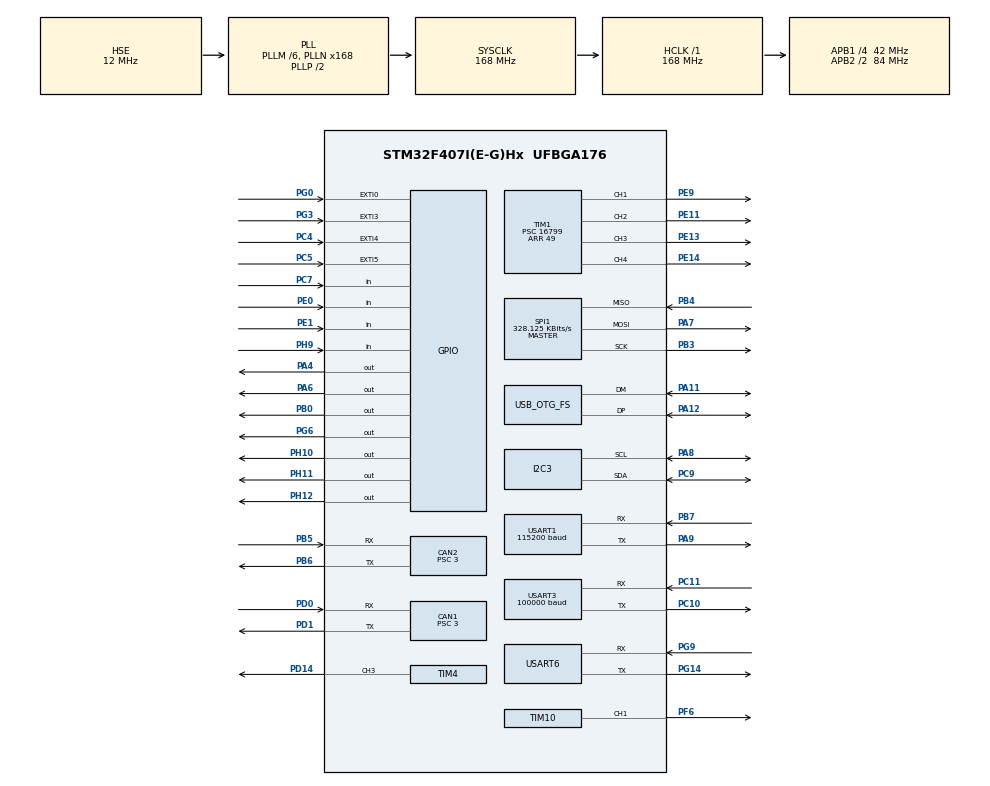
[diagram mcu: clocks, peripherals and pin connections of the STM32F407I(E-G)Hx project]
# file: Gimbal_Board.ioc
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CAN1.BS1=CAN_BS1_10TQ
CAN1.BS2=CAN_BS2_3TQ
CAN1.CalculateBaudRate=1000000
CAN1.CalculateTimeBit=1000
CAN1.CalculateTimeQuantum=71.42857142857143
CAN1.Prescaler=3
CAN1.SJW=CAN_SJW_1TQ
CAN2.BS1=CAN_BS1_10TQ
CAN2.BS2=CAN_BS2_3TQ
CAN2.CalculateBaudRate=1000000
CAN2.CalculateTimeBit=1000
CAN2.CalculateTimeQuantum=71.42857142857143
CAN2.Prescaler=3
Dma.Request0=SPI1_RX
Dma.Request1=SPI1_TX
Dma.Request2=USART3_RX
Dma.Request3=USART6_RX
Dma.Request4=USART6_TX
Dma.Request5=USART1_TX
Dma.Request6=USART1_RX
Dma.SPI1_RX.0.Direction=DMA_PERIPH_TO_MEMORY
Dma.SPI1_RX.0.FIFOMode=DMA_FIFOMODE_DISABLE
Dma.SPI1_RX.0.Instance=DMA2_Stream2
Dma.SPI1_RX.0.MemDataAlignment=DMA_MDATAALIGN_BYTE
Dma.SPI1_RX.0.MemInc=DMA_MINC_ENABLE
Dma.SPI1_RX.0.Mode=DMA_NORMAL
Dma.SPI1_RX.0.PeriphDataAlignment=DMA_PDATAALIGN_BYTE
Dma.SPI1_RX.0.PeriphInc=DMA_PINC_DISABLE
Dma.SPI1_RX.0.Priority=DMA_PRIORITY_VERY_HIGH
Dma.SPI1_TX.1.Direction=DMA_MEMORY_TO_PERIPH
Dma.SPI1_TX.1.FIFOMode=DMA_FIFOMODE_DISABLE
Dma.SPI1_TX.1.Instance=DMA2_Stream3
Dma.SPI1_TX.1.MemDataAlignment=DMA_MDATAALIGN_BYTE
Dma.SPI1_TX.1.MemInc=DMA_MINC_ENABLE
Dma.SPI1_TX.1.Mode=DMA_NORMAL
Dma.SPI1_TX.1.PeriphDataAlignment=DMA_PDATAALIGN_BYTE
Dma.SPI1_TX.1.PeriphInc=DMA_PINC_DISABLE
Dma.SPI1_TX.1.Priority=DMA_PRIORITY_HIGH
Dma.USART1_RX.6.Direction=DMA_PERIPH_TO_MEMORY
Dma.USART1_RX.6.FIFOMode=DMA_FIFOMODE_DISABLE
Dma.USART1_RX.6.Instance=DMA2_Stream5
Dma.USART1_RX.6.MemDataAlignment=DMA_MDATAALIGN_BYTE
Dma.USART1_RX.6.MemInc=DMA_MINC_ENABLE
Dma.USART1_RX.6.Mode=DMA_NORMAL
Dma.USART1_RX.6.PeriphDataAlignment=DMA_PDATAALIGN_BYTE
Dma.USART1_RX.6.PeriphInc=DMA_PINC_DISABLE
Dma.USART1_RX.6.Priority=DMA_PRIORITY_HIGH
Dma.USART1_TX.5.Direction=DMA_MEMORY_TO_PERIPH
Dma.USART1_TX.5.FIFOMode=DMA_FIFOMODE_DISABLE
Dma.USART1_TX.5.Instance=DMA2_Stream7
Dma.USART1_TX.5.MemDataAlignment=DMA_MDATAALIGN_BYTE
Dma.USART1_TX.5.MemInc=DMA_MINC_ENABLE
Dma.USART1_TX.5.Mode=DMA_NORMAL
Dma.USART1_TX.5.PeriphDataAlignment=DMA_PDATAALIGN_BYTE
Dma.USART1_TX.5.PeriphInc=DMA_PINC_DISABLE
Dma.USART1_TX.5.Priority=DMA_PRIORITY_VERY_HIGH
Dma.USART3_RX.2.Direction=DMA_PERIPH_TO_MEMORY
Dma.USART3_RX.2.FIFOMode=DMA_FIFOMODE_DISABLE
Dma.USART3_RX.2.Instance=DMA1_Stream1
Dma.USART3_RX.2.MemDataAlignment=DMA_MDATAALIGN_BYTE
Dma.USART3_RX.2.MemInc=DMA_MINC_ENABLE
Dma.USART3_RX.2.Mode=DMA_NORMAL
Dma.USART3_RX.2.PeriphDataAlignment=DMA_PDATAALIGN_BYTE
Dma.USART3_RX.2.PeriphInc=DMA_PINC_DISABLE
Dma.USART3_RX.2.Priority=DMA_PRIORITY_LOW
Dma.USART6_RX.3.Direction=DMA_PERIPH_TO_MEMORY
Dma.USART6_RX.3.FIFOMode=DMA_FIFOMODE_DISABLE
Dma.USART6_RX.3.Instance=DMA2_Stream1
Dma.USART6_RX.3.MemDataAlignment=DMA_MDATAALIGN_BYTE
Dma.USART6_RX.3.MemInc=DMA_MINC_ENABLE
Dma.USART6_RX.3.Mode=DMA_NORMAL
Dma.USART6_RX.3.PeriphDataAlignment=DMA_PDATAALIGN_BYTE
Dma.USART6_RX.3.PeriphInc=DMA_PINC_DISABLE
Dma.USART6_RX.3.Priority=DMA_PRIORITY_HIGH
Dma.USART6_TX.4.Direction=DMA_MEMORY_TO_PERIPH
Dma.USART6_TX.4.FIFOMode=DMA_FIFOMODE_DISABLE
Dma.USART6_TX.4.Instance=DMA2_Stream6
Dma.USART6_TX.4.MemDataAlignment=DMA_MDATAALIGN_BYTE
Dma.USART6_TX.4.MemInc=DMA_MINC_ENABLE
Dma.USART6_TX.4.Mode=DMA_NORMAL
Dma.USART6_TX.4.PeriphDataAlignment=DMA_PDATAALIGN_BYTE
Dma.USART6_TX.4.PeriphInc=DMA_PINC_DISABLE
Dma.USART6_TX.4.Priority=DMA_PRIORITY_VERY_HIGH
FREERTOS.INCLUDE_eTaskGetState=1
FREERTOS.INCLUDE_pcTaskGetTaskName=1
FREERTOS.INCLUDE_uxTaskGetStackHighWaterMark=1
FREERTOS.INCLUDE_vTaskCleanUpResources=1
FREERTOS.INCLUDE_vTaskDelayUntil=1
FREERTOS.INCLUDE_xEventGroupSetBitFromISR=1
FREERTOS.INCLUDE_xQueueGetMutexHolder=1
FREERTOS.INCLUDE_xSemaphoreGetMutexHolder=1
FREERTOS.INCLUDE_xTaskAbortDelay=1
FREERTOS.INCLUDE_xTaskGetCurrentTaskHandle=1
FREERTOS.INCLUDE_xTaskGetHandle=1
FREERTOS.INCLUDE_xTimerPendFunctionCall=1
FREERTOS.Tasks01=INS_TASK,3,2560,INS_Task,As weak,NULL,Dynamic,NULL,NULL;LED_TASK,0,128,LED_Task,As weak,NULL,Dynamic,NULL,NULL;Gimbal_TASK,2,512,Gimbal_Task,As weak,NULL,Dynamic,NULL,NULL;Shoot_TASK,0,512,Shoot_Task,As weak,NULL,Dynamic,NULL,NULL;referee_usart,1,256,referee_usart_task,As weak,NULL,Dynamic,NULL,NULL;Detect_Task,1,256,detect_task,As weak,NULL,Dynamic,NULL,NULL
FREERTOS.configTOTAL_HEAP_SIZE=24576
FREERTOS.configUSE_TIMERS=1
I2C3.I2C_Mode=I2C_Fast
Mcu.Family=STM32F4
Mcu.Name=STM32F407I(E-G)Hx
Mcu.Package=UFBGA176
NVIC.CAN1_RX0_IRQn=true\:5\:0\:false\:false\:true\:true\:true\:true\:true
NVIC.CAN1_TX_IRQn=true\:5\:0\:false\:false\:true\:true\:true\:true\:true
NVIC.CAN2_RX0_IRQn=true\:5\:0\:false\:false\:true\:true\:true\:true\:true
NVIC.DMA1_Stream1_IRQn=true\:5\:0\:false\:false\:true\:true\:false\:true\:true
NVIC.DMA2_Stream1_IRQn=true\:5\:0\:false\:false\:true\:true\:false\:true\:true
NVIC.DMA2_Stream2_IRQn=true\:5\:0\:false\:false\:true\:true\:false\:true\:true
NVIC.DMA2_Stream3_IRQn=true\:5\:0\:false\:false\:true\:true\:false\:true\:true
NVIC.DMA2_Stream5_IRQn=true\:5\:0\:false\:false\:true\:true\:false\:true\:true
NVIC.DMA2_Stream6_IRQn=true\:5\:0\:false\:false\:true\:true\:false\:true\:true
NVIC.DMA2_Stream7_IRQn=true\:5\:0\:false\:false\:true\:true\:false\:true\:true
NVIC.EXTI0_IRQn=true\:5\:0\:false\:false\:true\:true\:true\:true\:true
NVIC.EXTI3_IRQn=true\:5\:0\:false\:false\:true\:true\:true\:true\:true
NVIC.EXTI4_IRQn=true\:5\:0\:false\:false\:true\:true\:true\:true\:true
NVIC.EXTI9_5_IRQn=true\:5\:0\:false\:false\:true\:true\:true\:true\:true
NVIC.OTG_FS_IRQn=true\:5\:0\:false\:false\:true\:true\:false\:true\:true
NVIC.PriorityGroup=NVIC_PRIORITYGROUP_4
NVIC.TIM1_UP_TIM10_IRQn=true\:7\:0\:true\:false\:true\:true\:true\:true\:true
NVIC.TIM2_IRQn=true\:15\:0\:false\:false\:true\:false\:false\:true\:true
NVIC.TIM3_IRQn=true\:5\:0\:false\:false\:true\:true\:true\:true\:true
NVIC.TIM5_IRQn=true\:5\:0\:false\:false\:true\:true\:true\:true\:true
NVIC.TimeBase=TIM2_IRQn
NVIC.TimeBaseIP=TIM2
NVIC.USART1_IRQn=true\:5\:0\:false\:false\:true\:true\:true\:true\:true
NVIC.USART3_IRQn=true\:5\:0\:false\:false\:true\:true\:true\:true\:true
NVIC.USART6_IRQn=true\:5\:0\:false\:false\:true\:true\:true\:true\:true
PA11.Mode=Device_Only
PA11.Signal=USB_OTG_FS_DM
PA12.Mode=Device_Only
PA12.Signal=USB_OTG_FS_DP
PA13.Mode=Serial_Wire
PA13.Signal=SYS_JTMS-SWDIO
PA14.Mode=Serial_Wire
PA14.Signal=SYS_JTCK-SWCLK
PA4.GPIO_PuPd=GPIO_PULLUP
PA4.GPIO_Speed=GPIO_SPEED_FREQ_HIGH
PA4.PinState=GPIO_PIN_SET
PA4.Signal=GPIO_Output
PA6.GPIO_ModeDefaultOutputPP=GPIO_MODE_OUTPUT_OD
PA6.GPIO_PuPd=GPIO_NOPULL
PA6.Signal=GPIO_Output
PA7.GPIO_Mode=GPIO_MODE_AF_PP
PA7.GPIO_PuPd=GPIO_PULLUP
PA7.GPIO_Speed=GPIO_SPEED_FREQ_VERY_HIGH
PA7.Mode=Full_Duplex_Master
PA7.Signal=SPI1_MOSI
PA8.GPIO_Mode=GPIO_MODE_AF_OD
PA8.GPIO_Pu=GPIO_PULLUP
PA8.GPIO_Speed=GPIO_SPEED_FREQ_VERY_HIGH
PA8.Mode=I2C
PA8.Signal=I2C3_SCL
PA9.Mode=Asynchronous
PA9.Signal=USART1_TX
PB0.GPIO_ModeDefaultOutputPP=GPIO_MODE_OUTPUT_PP
PB0.GPIO_PuPd=GPIO_PULLUP
PB0.GPIO_Speed=GPIO_SPEED_FREQ_HIGH
PB0.PinState=GPIO_PIN_SET
PB0.Signal=GPIO_Output
PB14.GPIO_ModeDefaultPP=GPIO_MODE_AF_PP
PB14.GPIO_PuPd=GPIO_PULLUP
PB14.GPIO_Speed=GPIO_SPEED_FREQ_VERY_HIGH
PB14.Signal=S_TIM12_CH1
PB15.GPIO_ModeDefaultPP=GPIO_MODE_AF_PP
PB15.GPIO_PuPd=GPIO_PULLUP
PB15.GPIO_Speed=GPIO_SPEED_FREQ_VERY_HIGH
PB15.Signal=S_TIM12_CH2
PB3.GPIO_Mode=GPIO_MODE_AF_PP
PB3.GPIO_PuPd=GPIO_PULLUP
PB3.GPIO_Speed=GPIO_SPEED_FREQ_VERY_HIGH
PB3.Mode=Full_Duplex_Master
PB3.Signal=SPI1_SCK
PB4.GPIO_Mode=GPIO_MODE_AF_PP
PB4.GPIO_PuPd=GPIO_PULLUP
PB4.GPIO_Speed=GPIO_SPEED_FREQ_VERY_HIGH
PB4.Mode=Full_Duplex_Master
PB4.Signal=SPI1_MISO
PB5.Mode=CAN_Activate
PB5.Signal=CAN2_RX
PB6.Mode=CAN_Activate
PB6.Signal=CAN2_TX
PB7.Mode=Asynchronous
PB7.Signal=USART1_RX
PC10.GPIO_ModeDefaultPP=GPIO_MODE_AF_PP
PC10.GPIO_PuPd=GPIO_PULLUP
PC10.GPIO_Speed=GPIO_SPEED_FREQ_VERY_HIGH
PC10.Mode=Asynchronous
PC10.Signal=USART3_TX
PC11.GPIO_ModeDefaultPP=GPIO_MODE_AF_PP
PC11.GPIO_PuPd=GPIO_PULLUP
PC11.GPIO_Speed=GPIO_SPEED_FREQ_VERY_HIGH
PC11.Mode=Asynchronous
PC11.Signal=USART3_RX
PC4.GPIO_ModeDefaultEXTI=GPIO_MODE_IT_FALLING
PC4.GPIO_PuPd=GPIO_PULLUP
PC4.Signal=GPXTI4
PC5.GPIO_ModeDefaultEXTI=GPIO_MODE_IT_FALLING
PC5.GPIO_PuPd=GPIO_PULLUP
PC5.Signal=GPXTI5
PC7.GPIO_PuPd=GPIO_PULLDOWN
PC7.Signal=GPIO_Input
PC8.GPIO_ModeDefaultPP=GPIO_MODE_AF_PP
PC8.GPIO_PuPd=GPIO_PULLUP
PC8.GPIO_Speed=GPIO_SPEED_FREQ_VERY_HIGH
PC8.Signal=S_TIM3_CH3
PC9.GPIO_Mode=GPIO_MODE_AF_OD
PC9.GPIO_Pu=GPIO_PULLUP
PC9.GPIO_Speed=GPIO_SPEED_FREQ_VERY_HIGH
PC9.Mode=I2C
PC9.Signal=I2C3_SDA
PD0.Mode=CAN_Activate
PD0.Signal=CAN1_RX
PD1.Mode=CAN_Activate
PD1.Signal=CAN1_TX
PD14.GPIO_PuPd=GPIO_PULLUP
PD14.GPIO_Speed=GPIO_SPEED_FREQ_VERY_HIGH
PD14.Signal=S_TIM4_CH3
PE0.GPIO_PuPd=GPIO_PULLDOWN
PE0.Signal=GPIO_Input
PE1.GPIO_PuPd=GPIO_PULLDOWN
PE1.Signal=GPIO_Input
PE11.GPIO_ModeDefaultPP=GPIO_MODE_AF_PP
PE11.GPIO_PuPd=GPIO_PULLUP
PE11.GPIO_Speed=GPIO_SPEED_FREQ_VERY_HIGH
PE11.Signal=S_TIM1_CH2
PE13.GPIO_PuPd=GPIO_PULLUP
PE13.GPIO_Speed=GPIO_SPEED_FREQ_VERY_HIGH
PE13.Signal=S_TIM1_CH3
PE14.Signal=S_TIM1_CH4
PE9.GPIO_ModeDefaultPP=GPIO_MODE_AF_PP
PE9.GPIO_PuPd=GPIO_PULLUP
PE9.GPIO_Speed=GPIO_SPEED_FREQ_VERY_HIGH
PE9.Signal=S_TIM1_CH1
PF6.GPIO_PuPd=GPIO_PULLUP
PF6.GPIO_Speed=GPIO_SPEED_FREQ_VERY_HIGH
PF6.Signal=S_TIM10_CH1
PG0.GPIO_ModeDefaultEXTI=GPIO_MODE_IT_FALLING
PG0.GPIO_PuPd=GPIO_PULLUP
PG0.Signal=GPXTI0
PG14.GPIO_ModeDefaultPP=GPIO_MODE_AF_PP
PG14.GPIO_PuPd=GPIO_PULLUP
PG14.GPIO_Speed=GPIO_SPEED_FREQ_VERY_HIGH
PG14.Mode=Asynchronous
PG14.Signal=USART6_TX
PG3.GPIO_ModeDefaultEXTI=GPIO_MODE_IT_FALLING
PG3.GPIO_PuPd=GPIO_PULLUP
PG3.Signal=GPXTI3
PG6.GPIO_ModeDefaultOutputPP=GPIO_MODE_OUTPUT_PP
PG6.GPIO_PuPd=GPIO_PULLUP
PG6.GPIO_Speed=GPIO_SPEED_FREQ_HIGH
PG6.PinState=GPIO_PIN_SET
PG6.Signal=GPIO_Output
PG9.GPIO_ModeDefaultPP=GPIO_MODE_AF_PP
PG9.GPIO_PuPd=GPIO_PULLUP
PG9.GPIO_Speed=GPIO_SPEED_FREQ_VERY_HIGH
PG9.Mode=Asynchronous
PG9.Signal=USART6_RX
PH0-OSC_IN.Mode=HSE-External-Oscillator
PH0-OSC_IN.Signal=RCC_OSC_IN
PH1-OSC_OUT.Mode=HSE-External-Oscillator
PH1-OSC_OUT.Signal=RCC_OSC_OUT
PH10.GPIO_ModeDefaultOutputPP=GPIO_MODE_OUTPUT_PP
PH10.GPIO_PuPd=GPIO_PULLDOWN
PH10.GPIO_Speed=GPIO_SPEED_FREQ_VERY_HIGH
PH10.PinState=GPIO_PIN_RESET
PH10.Signal=GPIO_Output
PH11.GPIO_ModeDefaultOutputPP=GPIO_MODE_OUTPUT_PP
PH11.GPIO_PuPd=GPIO_PULLDOWN
PH11.GPIO_Speed=GPIO_SPEED_FREQ_VERY_HIGH
PH11.PinState=GPIO_PIN_RESET
PH11.Signal=GPIO_Output
PH12.GPIO_ModeDefaultOutputPP=GPIO_MODE_OUTPUT_PP
PH12.GPIO_PuPd=GPIO_PULLDOWN
PH12.GPIO_Speed=GPIO_SPEED_FREQ_VERY_HIGH
PH12.PinState=GPIO_PIN_RESET
PH12.Signal=GPIO_Output
PH9.GPIO_PuPd=GPIO_PULLDOWN
PH9.Signal=GPIO_Input
ProjectManager.HeapSize=0x2000
ProjectManager.StackSize=0x2000
ProjectManager.TargetToolchain=MDK-ARM V5
RCC.48MHZClocksFreq_Value=48000000
RCC.AHBFreq_Value=168000000
RCC.APB1CLKDivider=RCC_HCLK_DIV4
RCC.APB1Freq_Value=42000000
RCC.APB1TimFreq_Value=84000000
RCC.APB2CLKDivider=RCC_HCLK_DIV2
RCC.APB2Freq_Value=84000000
RCC.APB2TimFreq_Value=168000000
RCC.CortexFreq_Value=168000000
RCC.HCLKFreq_Value=168000000
RCC.HSE_VALUE=12000000
RCC.HSI_VALUE=16000000
RCC.LSE_VALUE=32768
RCC.PLLM=6
RCC.PLLN=168
RCC.PLLQ=7
RCC.SYSCLKFreq_VALUE=168000000
RCC.SYSCLKSource=RCC_SYSCLKSOURCE_PLLCLK
RCC.VCOOutputFreq_Value=336000000
SH.S_TIM10_CH1.0=TIM10_CH1,PWM Generation1 CH1
SH.S_TIM12_CH1.0=TIM12_CH1
SH.S_TIM12_CH2.0=TIM12_CH2
SH.S_TIM1_CH1.0=TIM1_CH1,PWM Generation1 CH1
SH.S_TIM1_CH2.0=TIM1_CH2,PWM Generation2 CH2
SH.S_TIM1_CH3.0=TIM1_CH3,PWM Generation3 CH3
SH.S_TIM1_CH4.0=TIM1_CH4,PWM Generation4 CH4
SH.S_TIM3_CH3.0=TIM3_CH3
SH.S_TIM4_CH3.0=TIM4_CH3,PWM Generation3 CH3
SPI1.BaudRatePrescaler=SPI_BAUDRATEPRESCALER_256
SPI1.CLKPhase=SPI_PHASE_2EDGE
SPI1.CLKPolarity=SPI_POLARITY_HIGH
SPI1.CalculateBaudRate=328.125 KBits/s
SPI1.Direction=SPI_DIRECTION_2LINES
SPI1.Mode=SPI_MODE_MASTER
SPI1.VirtualType=VM_MASTER
TIM1.AutoReloadPreload=TIM_AUTORELOAD_PRELOAD_DISABLE
TIM1.Channel-PWM\ Generation1\ CH1=TIM_CHANNEL_1
TIM1.Channel-PWM\ Generation2\ CH2=TIM_CHANNEL_2
TIM1.Channel-PWM\ Generation3\ CH3=TIM_CHANNEL_3
TIM1.Channel-PWM\ Generation4\ CH4=TIM_CHANNEL_4
TIM1.Period=49
TIM1.Prescaler=16799
TIM10.Channel=TIM_CHANNEL_1
TIM10.Period=4999
TIM3.Period=99
TIM3.Prescaler=8399
TIM4.Channel-PWM\ Generation3\ CH3=TIM_CHANNEL_3
TIM4.Period=20999
TIM5.Period=19
TIM5.Prescaler=8399
USART1.BaudRate=115200
USART1.VirtualMode=VM_ASYNC
USART3.BaudRate=100000
USART3.VirtualMode=VM_ASYNC
USART6.VirtualMode=VM_ASYNC
USB_DEVICE.CLASS_NAME_FS=CDC
USB_DEVICE.VirtualMode-CDC_FS=Cdc
USB_DEVICE.VirtualModeFS=Cdc_FS
USB_OTG_FS.VirtualMode=Device_Only
VP_CRC_VS_CRC.Mode=CRC_Activate
VP_FREERTOS_VS_CMSIS_V1.Mode=CMSIS_V1
VP_SYS_VS_tim2.Mode=TIM2
VP_TIM10_VS_ClockSourceINT.Mode=Enable_Timer
VP_TIM1_VS_ClockSourceINT.Mode=Internal
VP_TIM3_VS_ClockSourceINT.Mode=Internal
VP_TIM4_VS_ClockSourceINT.Mode=Internal
VP_TIM5_VS_ClockSourceINT.Mode=Internal
VP_USB_DEVICE_VS_USB_DEVICE_CDC_FS.Mode=CDC_FS
board=custom

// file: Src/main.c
/* USER CODE BEGIN Header */
/**
  ******************************************************************************
  * @file           : main.c
  * @brief          : Main program body
  ******************************************************************************
  * @attention
  *
  * Copyright (c) 2025 STMicroelectronics.
  * All rights reserved.
  *
  * This software is licensed under terms that can be found in the LICENSE file
  * in the root directory of this software component.
  * If no LICENSE file comes with this software, it is provided AS-IS.
  *
  ******************************************************************************
  */
/* USER CODE END Header */
#include "main.h"
#include "cmsis_os.h"
#include "can.h"
#include "crc.h"
#include "dma.h"
#include "i2c.h"
#include "spi.h"
#include "tim.h"
#include "usart.h"
#include "usb_device.h"
#include "gpio.h"

/* USER CODE BEGIN Includes */
#include "remote_control.h"
#include "bsp_can.h"
#include "bsp_buzzer.h"
#include "bsp_dwt.h"
#include "Referee.h"
#include "referee_usart_task.h"
/* USER CODE END Includes */

void SystemClock_Config(void);
void MX_FREERTOS_Init(void);

int main(void)
{

  /* MCU Configuration--------------------------------------------------------*/

  /* Reset of all peripherals, Initializes the Flash interface and the Systick. */
  HAL_Init();

  /* Configure the system clock */
  SystemClock_Config();

  /* Initialize all configured peripherals */
  MX_GPIO_Init();
  MX_DMA_Init();
  MX_I2C3_Init();
  MX_SPI1_Init();
  MX_TIM10_Init();
  MX_USART3_UART_Init();
  MX_CAN1_Init();
  MX_CAN2_Init();
  MX_TIM3_Init();
  MX_USART6_UART_Init();
  MX_USART1_UART_Init();
  MX_TIM1_Init();
  MX_CRC_Init();
  MX_TIM4_Init();
  MX_TIM5_Init();
  /* USER CODE BEGIN 2 */
  MX_USB_DEVICE_Init();
  HAL_TIM_Base_Start_IT(&htim1); // 开启tim1中断，用于向上位机定时发送陀螺仪数据
  HAL_TIM_PWM_Start(&htim10, TIM_CHANNEL_1); // 用于对陀螺仪进行恒温处理
  HAL_TIM_PWM_Start(&htim4, TIM_CHANNEL_3);  // 蜂鸣器pwm
  buzzer_play_eva();
  HAL_TIM_PWM_Stop(&htim4, TIM_CHANNEL_3); // 用完蜂鸣器就关掉省资源
  /***************CAN初始化*****************/
  Create_Can_Send_Queues(); // 创建can重发队列，需要保证在开启tim3溢出中断之前调用，不然tim3中断回调函数调用队列会发送错误
  Can_Filter_Init();
  Can_Buffer_Init();
  /*****************************************/
  HAL_TIM_Base_Start_IT(&htim5); // 开启tim5中断，用于定时发送can报文，保险起见在can_filter_init()中启动can外设后再发can报文（理论上不用这样，hal库有保护）
  HAL_TIM_Base_Start_IT(&htim3); // 启动tim3中断，用于定时检测有没有发送失败的can报文并进行重发

  remote_control_init();
  fifo_s_init(&Referee_FIFO, Referee_FIFO_Buffer, REFEREE_FIFO_BUF_LENGTH);
  Referee_StructInit();
  Referee_UARTInit(Referee_Buffer[0], Referee_Buffer[1], REFEREE_USART_RX_BUF_LENGHT);
  DWT_Init(CPU_FREQ_MHZ);
  /* USER CODE END 2 */

  /* Call init function for freertos objects (in cmsis_os2.c) */
  MX_FREERTOS_Init();

  /* Start scheduler */
  osKernelStart();

  /* We should never get here as control is now taken by the scheduler */

  /* Infinite loop */
  while (1)
  {

  }
}

void SystemClock_Config(void)
{
  RCC_OscInitTypeDef RCC_OscInitStruct = {0};
  RCC_ClkInitTypeDef RCC_ClkInitStruct = {0};

  /** Configure the main internal regulator output voltage
  */
  __HAL_RCC_PWR_CLK_ENABLE();
  __HAL_PWR_VOLTAGESCALING_CONFIG(PWR_REGULATOR_VOLTAGE_SCALE1);

  /** Initializes the RCC Oscillators according to the specified parameters
  * in the RCC_OscInitTypeDef structure.
  */
  RCC_OscInitStruct.OscillatorType = RCC_OSCILLATORTYPE_HSE;
  RCC_OscInitStruct.HSEState = RCC_HSE_ON;
  RCC_OscInitStruct.PLL.PLLState = RCC_PLL_ON;
  RCC_OscInitStruct.PLL.PLLSource = RCC_PLLSOURCE_HSE;
  RCC_OscInitStruct.PLL.PLLM = 6;
  RCC_OscInitStruct.PLL.PLLN = 168;
  RCC_OscInitStruct.PLL.PLLP = RCC_PLLP_DIV2;
  RCC_OscInitStruct.PLL.PLLQ = 7;
  if (HAL_RCC_OscConfig(&RCC_OscInitStruct) != HAL_OK)
  {
    Error_Handler();
  }

  /** Initializes the CPU, AHB and APB buses clocks
  */
  RCC_ClkInitStruct.ClockType = RCC_CLOCKTYPE_HCLK|RCC_CLOCKTYPE_SYSCLK
                              |RCC_CLOCKTYPE_PCLK1|RCC_CLOCKTYPE_PCLK2;
  RCC_ClkInitStruct.SYSCLKSource = RCC_SYSCLKSOURCE_PLLCLK;
  RCC_ClkInitStruct.AHBCLKDivider = RCC_SYSCLK_DIV1;
  RCC_ClkInitStruct.APB1CLKDivider = RCC_HCLK_DIV4;
  RCC_ClkInitStruct.APB2CLKDivider = RCC_HCLK_DIV2;

  if (HAL_RCC_ClockConfig(&RCC_ClkInitStruct, FLASH_LATENCY_5) != HAL_OK)
  {
    Error_Handler();
  }
}

void HAL_TIM_PeriodElapsedCallback(TIM_HandleTypeDef *htim)
{
  if (htim->Instance == TIM2) {
    HAL_IncTick();
  }
}

void Error_Handler(void)
{
  __disable_irq();
  while (1)
  {
  }
}

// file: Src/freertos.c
/* USER CODE BEGIN Header */
/**
  ******************************************************************************
  * File Name          : freertos.c
  * Description        : Code for freertos applications
  ******************************************************************************
  * @attention
  *
  * Copyright (c) 2025 STMicroelectronics.
  * All rights reserved.
  *
  * This software is licensed under terms that can be found in the LICENSE file
  * in the root directory of this software component.
  * If no LICENSE file comes with this software, it is provided AS-IS.
  *
  ******************************************************************************
  */
/* USER CODE END Header */

#include "FreeRTOS.h"
#include "task.h"
#include "main.h"
#include "cmsis_os.h"

osThreadId INS_TASKHandle;
osThreadId LED_TASKHandle;
osThreadId Gimbal_TASKHandle;
osThreadId Shoot_TASKHandle;
osThreadId referee_usartHandle;
osThreadId Detect_TaskHandle;

void INS_Task(void const * argument);
void LED_Task(void const * argument);
void Gimbal_Task(void const * argument);
void Shoot_Task(void const * argument);
void referee_usart_task(void const * argument);
void detect_task(void const * argument);

extern void MX_USB_DEVICE_Init(void);
void MX_FREERTOS_Init(void); /* (MISRA C 2004 rule 8.1) */

/* GetIdleTaskMemory prototype (linked to static allocation support) */
void vApplicationGetIdleTaskMemory( StaticTask_t **ppxIdleTaskTCBBuffer, StackType_t **ppxIdleTaskStackBuffer, uint32_t *pulIdleTaskStackSize );

/* GetTimerTaskMemory prototype (linked to static allocation support) */
void vApplicationGetTimerTaskMemory( StaticTask_t **ppxTimerTaskTCBBuffer, StackType_t **ppxTimerTaskStackBuffer, uint32_t *pulTimerTaskStackSize );

/* USER CODE BEGIN GET_IDLE_TASK_MEMORY */
static StaticTask_t xIdleTaskTCBBuffer;
static StackType_t xIdleStack[configMINIMAL_STACK_SIZE];

void vApplicationGetIdleTaskMemory( StaticTask_t **ppxIdleTaskTCBBuffer, StackType_t **ppxIdleTaskStackBuffer, uint32_t *pulIdleTaskStackSize )
{
  *ppxIdleTaskTCBBuffer = &xIdleTaskTCBBuffer;
  *ppxIdleTaskStackBuffer = &xIdleStack[0];
  *pulIdleTaskStackSize = configMINIMAL_STACK_SIZE;
  /* place for user code */
}
/* USER CODE END GET_IDLE_TASK_MEMORY */

/* USER CODE BEGIN GET_TIMER_TASK_MEMORY */
static StaticTask_t xTimerTaskTCBBuffer;
static StackType_t xTimerStack[configTIMER_TASK_STACK_DEPTH];

void vApplicationGetTimerTaskMemory( StaticTask_t **ppxTimerTaskTCBBuffer, StackType_t **ppxTimerTaskStackBuffer, uint32_t *pulTimerTaskStackSize )
{
  *ppxTimerTaskTCBBuffer = &xTimerTaskTCBBuffer;
  *ppxTimerTaskStackBuffer = &xTimerStack[0];
  *pulTimerTaskStackSize = configTIMER_TASK_STACK_DEPTH;
  /* place for user code */
}
/* USER CODE END GET_TIMER_TASK_MEMORY */

void MX_FREERTOS_Init(void) {

  /* Create the thread(s) */
  /* definition and creation of INS_TASK */
  osThreadDef(INS_TASK, INS_Task, osPriorityRealtime, 0, 2560);
  INS_TASKHandle = osThreadCreate(osThread(INS_TASK), NULL);

  /* definition and creation of LED_TASK */
  osThreadDef(LED_TASK, LED_Task, osPriorityNormal, 0, 128);
  LED_TASKHandle = osThreadCreate(osThread(LED_TASK), NULL);

  /* definition and creation of Gimbal_TASK */
  osThreadDef(Gimbal_TASK, Gimbal_Task, osPriorityHigh, 0, 512);
  Gimbal_TASKHandle = osThreadCreate(osThread(Gimbal_TASK), NULL);

  /* definition and creation of Shoot_TASK */
  osThreadDef(Shoot_TASK, Shoot_Task, osPriorityNormal, 0, 512);
  Shoot_TASKHandle = osThreadCreate(osThread(Shoot_TASK), NULL);

  /* definition and creation of referee_usart */
  osThreadDef(referee_usart, referee_usart_task, osPriorityAboveNormal, 0, 256);
  referee_usartHandle = osThreadCreate(osThread(referee_usart), NULL);

  /* definition and creation of Detect_Task */
  osThreadDef(Detect_Task, detect_task, osPriorityAboveNormal, 0, 256);
  Detect_TaskHandle = osThreadCreate(osThread(Detect_Task), NULL);

}

__weak void INS_Task(void const * argument)
{
  /* init code for USB_DEVICE */
  MX_USB_DEVICE_Init();
  for(;;)
  {
    osDelay(1);
  }
}

__weak void LED_Task(void const * argument)
{
  for(;;)
  {
    osDelay(1);
  }
}

__weak void Gimbal_Task(void const * argument)
{
  for(;;)
  {
    osDelay(1);
  }
}

__weak void Shoot_Task(void const * argument)
{
  for(;;)
  {
    osDelay(1);
  }
}

__weak void referee_usart_task(void const * argument)
{
  for(;;)
  {
    osDelay(1);
  }
}

__weak void detect_task(void const * argument)
{
  for(;;)
  {
    osDelay(1);
  }
}
